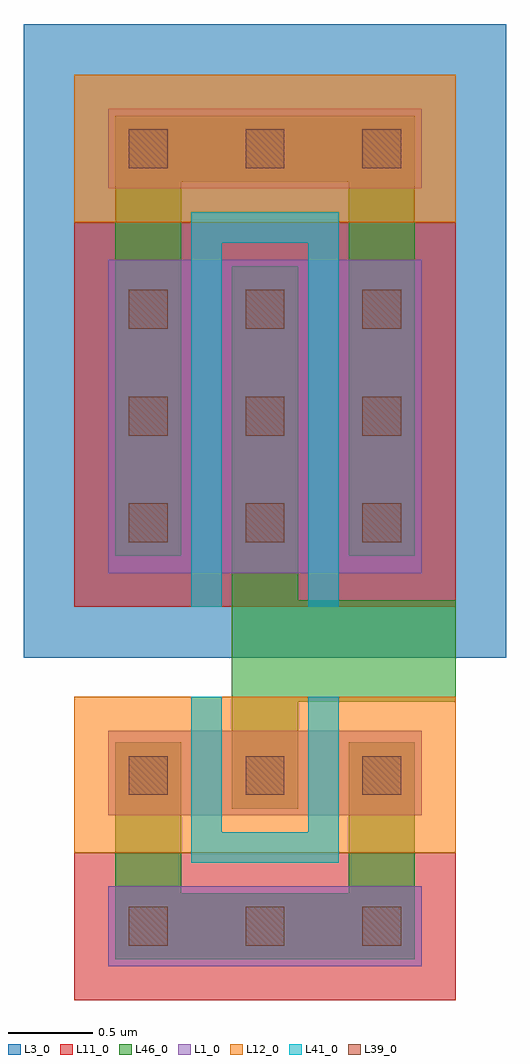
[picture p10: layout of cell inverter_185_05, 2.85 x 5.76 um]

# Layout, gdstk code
import gdstk
lib = gdstk.Library(unit=1e-6, precision=1e-09)
def R(c, l, rs):  # rectangles x0, y0, x1, y1
    for r in rs: c.add(gdstk.rectangle(r[:2], r[2:], *l))
def A(c, l, x, y, w, h, nx, ny, dx, dy):  # array of equal rectangles
    R(c, l, [(x+i*dx, y+j*dy, x+i*dx+w, y+j*dy+h) for i in range(nx) for j in range(ny)])
L1_0 = (1, 0)
L3_0 = (3, 0)
L11_0 = (11, 0)
L12_0 = (12, 0)
L39_0 = (39, 0)
L41_0 = (41, 0)
L46_0 = (46, 0)

inverter_185_05 = lib.new_cell('inverter_185_05')
R(inverter_185_05, L1_0, [(0.445,0.88,2.295,1.35), (0.445,1.77,2.295,2.27), (0.445,3.2,2.295,5.05), (0.445,5.47,2.295,5.94)])
R(inverter_185_05, L3_0, [(-0.055,2.7,2.795,6.44)])
R(inverter_185_05, L11_0, [(0.245,0.68,2.495,1.55), (0.245,3,2.495,5.27)])
R(inverter_185_05, L12_0, [(0.245,1.55,2.495,2.47), (0.245,5.27,2.495,6.14)])
A(inverter_185_05, L39_0, 0.565, 1, 0.23, 0.23, 3, 2, 0.69, 0.89)
A(inverter_185_05, L39_0, 0.565, 3.381, 0.23, 0.23, 3, 3, 0.69, 0.63)
A(inverter_185_05, L39_0, 0.565, 5.59, 0.23, 0.23, 3, 1, 0.69, 0)
R(inverter_185_05, L41_0, [(0.935,1.49,1.115,2.47), (0.935,1.49,1.805,1.67), (1.625,1.49,1.805,2.47), (0.935,3,1.115,5.33), (1.625,3,1.805,5.33), (0.935,5.15,1.805,5.33)])
R(inverter_185_05, L46_0, [(0.485,0.92,2.255,1.31), (0.485,0.92,0.875,2.2), (1.865,0.92,2.255,2.2), (1.175,1.81,1.565,5.01), (1.175,2.44,2.495,3.04), (0.485,3.301,0.875,5.9), (1.865,3.301,2.255,5.9), (0.485,5.51,2.255,5.9)])

lib.write_gds('inverter_185_05.gds')
